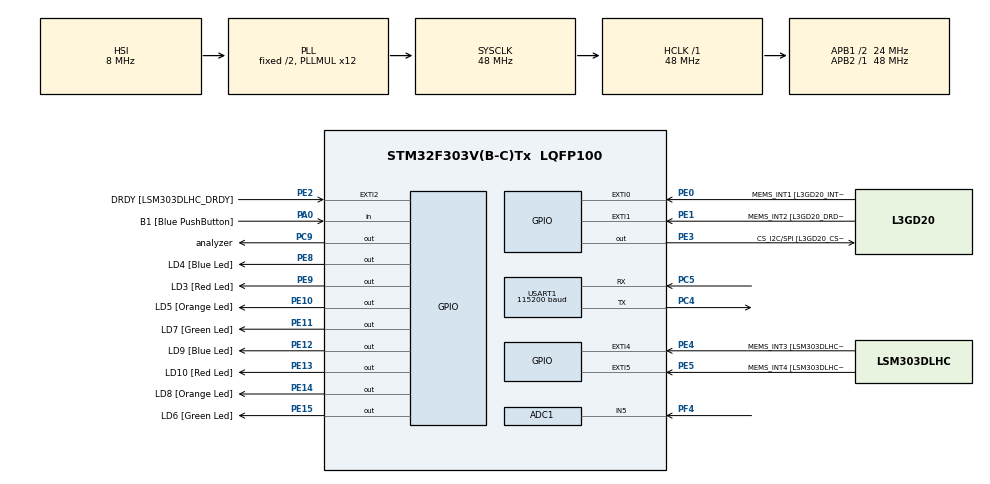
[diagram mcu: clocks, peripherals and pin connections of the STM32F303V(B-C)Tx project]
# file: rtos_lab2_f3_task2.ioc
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ADC1.Channel-0\#ChannelRegularConversion=ADC_CHANNEL_TEMPSENSOR
ADC1.Channel-1\#ChannelRegularConversion=ADC_CHANNEL_5
ADC1.ContinuousConvMode=DISABLE
ADC1.DiscontinuousConvMode=DISABLE
ADC1.ExternalTrigConv=ADC_SOFTWARE_START
ADC1.NbrOfConversion=2
ADC1.NbrOfConversionFlag=1
ADC1.Offset-0\#ChannelRegularConversion=0
ADC1.Offset-1\#ChannelRegularConversion=0
ADC1.OffsetNumber-0\#ChannelRegularConversion=ADC_OFFSET_NONE
ADC1.OffsetNumber-1\#ChannelRegularConversion=ADC_OFFSET_NONE
ADC1.Rank-0\#ChannelRegularConversion=1
ADC1.Rank-1\#ChannelRegularConversion=2
ADC1.SamplingTime-0\#ChannelRegularConversion=ADC_SAMPLETIME_2CYCLES_5
ADC1.SamplingTime-1\#ChannelRegularConversion=ADC_SAMPLETIME_2CYCLES_5
ADC1.SamplingTimeOPAMP-1\#ChannelRegularConversion=ADC_SAMPLETIME_19CYCLES_5
ADC1.master=1
FREERTOS.Queues01=dataQueue,10,uint32_t,0,Dynamic,NULL,NULL;UART_queue,10,uint32_t,0,Dynamic,NULL,NULL
FREERTOS.Tasks01=defaultTask,24,128,StartDefaultTask,Default,NULL,Dynamic,NULL,NULL;dataTask,24,128,StartDataTask,Default,NULL,Dynamic,NULL,NULL;UART_task,24,128,StartUART_task,Default,NULL,Dynamic,NULL,NULL
Mcu.Family=STM32F3
Mcu.Name=STM32F303V(B-C)Tx
Mcu.Package=LQFP100
NVIC.PriorityGroup=NVIC_PRIORITYGROUP_4
NVIC.TIM1_UP_TIM16_IRQn=true\:15\:0\:false\:false\:true\:false\:false\:true\:true
NVIC.TIM2_IRQn=true\:5\:0\:false\:false\:true\:true\:true\:true\:true
NVIC.TimeBase=TIM1_UP_TIM16_IRQn
NVIC.TimeBaseIP=TIM1
PA0.GPIO_Label=B1 [Blue PushButton]
PA0.GPIO_Mode=GPIO_MODE_INPUT
PA0.GPIO_PuPd=GPIO_NOPULL
PA0.Signal=GPIO_Input
PA11.GPIO_Label=DM
PA11.Signal=USB_DM
PA12.GPIO_Label=DP
PA12.Signal=USB_DP
PA13.GPIO_Label=SWDIO
PA13.Signal=SYS_JTMS-SWDIO
PA14.GPIO_Label=SWCLK
PA14.Signal=SYS_JTCK-SWCLK
PA5.GPIO_Label=SPI1_SCK [L3GD20_SCL/SPC]
PA5.GPIO_Mode=GPIO_MODE_AF_PP
PA5.GPIO_PuPd=GPIO_NOPULL
PA5.GPIO_Speed=GPIO_SPEED_FREQ_LOW
PA5.Signal=SPI1_SCK
PA6.GPIO_Label=SPI1_MISO [L3GD20_SA0/SDO]
PA6.GPIO_Mode=GPIO_MODE_AF_PP
PA6.GPIO_PuPd=GPIO_NOPULL
PA6.GPIO_Speed=GPIO_SPEED_FREQ_LOW
PA6.Signal=SPI1_MISO
PA7.GPIO_Label=SPI1_MISO [L3GD20_SDA/SDI/SDO]
PA7.GPIO_Mode=GPIO_MODE_AF_PP
PA7.GPIO_PuPd=GPIO_NOPULL
PA7.GPIO_Speed=GPIO_SPEED_FREQ_LOW
PA7.Signal=SPI1_MOSI
PB3.GPIO_Label=SWO
PB3.Signal=SYS_JTDO-TRACESWO
PB6.GPIO_FM6=__NULL
PB6.GPIO_Label=I2C1_SCL [LSM303DLHC_SCL]
PB6.GPIO_Mode=GPIO_MODE_AF_OD
PB6.GPIO_PuPd=GPIO_NOPULL
PB6.GPIO_Speed=GPIO_SPEED_FREQ_LOW
PB6.Signal=I2C1_SCL
PB7.GPIO_FM7=__NULL
PB7.GPIO_Label=I2C1_SDA [LSM303DLHC_SDA]
PB7.GPIO_Mode=GPIO_MODE_AF_OD
PB7.GPIO_PuPd=GPIO_NOPULL
PB7.GPIO_Speed=GPIO_SPEED_FREQ_LOW
PB7.Signal=I2C1_SDA
PC14-OSC32_IN.GPIO_Label=OSC32_IN
PC14-OSC32_IN.Signal=RCC_OSC32_IN
PC15-OSC32_OUT.GPIO_Label=OSC32_OUT
PC15-OSC32_OUT.Signal=RCC_OSC32_OUT
PC4.Mode=Asynchronous
PC4.Signal=USART1_TX
PC5.Mode=Asynchronous
PC5.Signal=USART1_RX
PC9.GPIO_Label=analyzer
PC9.Signal=GPIO_Output
PE0.GPIO_Label=MEMS_INT1 [L3GD20_INT1]
PE0.GPIO_ModeDefaultEXTI=GPIO_MODE_EVT_RISING
PE0.GPIO_PuPd=GPIO_NOPULL
PE0.Signal=GPXTI0
PE1.GPIO_Label=MEMS_INT2 [L3GD20_DRDY/INT2]
PE1.GPIO_ModeDefaultEXTI=GPIO_MODE_EVT_RISING
PE1.GPIO_PuPd=GPIO_NOPULL
PE1.Signal=GPXTI1
PE10.GPIO_Label=LD5 [Orange Led]
PE10.GPIO_ModeDefaultOutputPP=GPIO_MODE_OUTPUT_PP
PE10.GPIO_PuPd=GPIO_NOPULL
PE10.GPIO_Speed=GPIO_SPEED_FREQ_LOW
PE10.Signal=GPIO_Output
PE11.GPIO_Label=LD7 [Green Led]
PE11.GPIO_ModeDefaultOutputPP=GPIO_MODE_OUTPUT_PP
PE11.GPIO_PuPd=GPIO_NOPULL
PE11.GPIO_Speed=GPIO_SPEED_FREQ_LOW
PE11.Signal=GPIO_Output
PE12.GPIO_Label=LD9 [Blue Led]
PE12.GPIO_ModeDefaultOutputPP=GPIO_MODE_OUTPUT_PP
PE12.GPIO_PuPd=GPIO_NOPULL
PE12.GPIO_Speed=GPIO_SPEED_FREQ_LOW
PE12.Signal=GPIO_Output
PE13.GPIO_Label=LD10 [Red Led]
PE13.GPIO_ModeDefaultOutputPP=GPIO_MODE_OUTPUT_PP
PE13.GPIO_PuPd=GPIO_NOPULL
PE13.GPIO_Speed=GPIO_SPEED_FREQ_LOW
PE13.Signal=GPIO_Output
PE14.GPIO_Label=LD8 [Orange Led]
PE14.GPIO_ModeDefaultOutputPP=GPIO_MODE_OUTPUT_PP
PE14.GPIO_PuPd=GPIO_NOPULL
PE14.GPIO_Speed=GPIO_SPEED_FREQ_LOW
PE14.Signal=GPIO_Output
PE15.GPIO_Label=LD6 [Green Led]
PE15.GPIO_ModeDefaultOutputPP=GPIO_MODE_OUTPUT_PP
PE15.GPIO_PuPd=GPIO_NOPULL
PE15.GPIO_Speed=GPIO_SPEED_FREQ_LOW
PE15.Signal=GPIO_Output
PE2.GPIO_Label=DRDY [LSM303DLHC_DRDY]
PE2.GPIO_ModeDefaultEXTI=GPIO_MODE_EVT_RISING
PE2.GPIO_PuPd=GPIO_NOPULL
PE2.Signal=GPXTI2
PE3.GPIO_Label=CS_I2C/SPI [L3GD20_CS_I2C/SPI]
PE3.GPIO_ModeDefaultOutputPP=GPIO_MODE_OUTPUT_PP
PE3.GPIO_PuPd=GPIO_NOPULL
PE3.GPIO_Speed=GPIO_SPEED_FREQ_LOW
PE3.Signal=GPIO_Output
PE4.GPIO_Label=MEMS_INT3 [LSM303DLHC_INT1]
PE4.GPIO_ModeDefaultEXTI=GPIO_MODE_EVT_RISING
PE4.GPIO_PuPd=GPIO_NOPULL
PE4.Signal=GPXTI4
PE5.GPIO_Label=MEMS_INT4 [LSM303DLHC_INT2]
PE5.GPIO_ModeDefaultEXTI=GPIO_MODE_EVT_RISING
PE5.GPIO_PuPd=GPIO_NOPULL
PE5.Signal=GPXTI5
PE8.GPIO_Label=LD4 [Blue Led]
PE8.GPIO_ModeDefaultOutputPP=GPIO_MODE_OUTPUT_PP
PE8.GPIO_PuPd=GPIO_NOPULL
PE8.GPIO_Speed=GPIO_SPEED_FREQ_LOW
PE8.Signal=GPIO_Output
PE9.GPIO_Label=LD3 [Red Led]
PE9.GPIO_ModeDefaultOutputPP=GPIO_MODE_OUTPUT_PP
PE9.GPIO_PuPd=GPIO_NOPULL
PE9.GPIO_Speed=GPIO_SPEED_FREQ_LOW
PE9.Signal=GPIO_Output
PF0-OSC_IN.GPIO_Label=OSC_IN
PF0-OSC_IN.Signal=RCC_OSC_IN
PF1-OSC_OUT.GPIO_Label=OSC_OUT
PF1-OSC_OUT.Signal=RCC_OSC_OUT
PF4.Mode=IN5-Single-Ended
PF4.Signal=ADC1_IN5
ProjectManager.HeapSize=0x200
ProjectManager.StackSize=0x400
ProjectManager.TargetToolchain=STM32CubeIDE
RCC.AHBFreq_Value=48000000
RCC.APB1CLKDivider=RCC_HCLK_DIV2
RCC.APB1Freq_Value=24000000
RCC.APB1TimFreq_Value=48000000
RCC.APB2Freq_Value=48000000
RCC.APB2TimFreq_Value=48000000
RCC.CortexFreq_Value=48000000
RCC.HCLKFreq_Value=48000000
RCC.HSE_VALUE=8000000
RCC.HSI_VALUE=8000000
RCC.LSE_VALUE=32768
RCC.PLLMUL=RCC_PLL_MUL12
RCC.SYSCLKFreq_VALUE=48000000
RCC.SYSCLKSourceVirtual=RCC_SYSCLKSOURCE_PLLCLK
RCC.USBFreq_Value=48000000
STMicroelectronics.X-CUBE-ALGOBUILD.1.3.0.LibraryCcDSPOoLibraryJjDSPOoLibrary=true
TIM2.Period=1000
TIM2.Prescaler=48000-1
TIM2.TIM_MasterOutputTrigger=TIM_TRGO_UPDATE
USART1.BaudRate=115200
USART1.VirtualMode-Asynchronous=VM_ASYNC
VP_ADC1_TempSens_Input.Mode=IN-TempSens
VP_FREERTOS_VS_CMSIS_V2.Mode=CMSIS_V2
VP_STMicroelectronics.X-CUBE-ALGOBUILD_VS_DSPOoLibraryJjLibrary_1.3.0_1.3.0.Mode=DSPOoLibraryJjLibrary
VP_SYS_VS_tim1.Mode=TIM1
VP_TIM2_VS_ClockSourceINT.Mode=Internal
board=STM32F3DISCOVERY

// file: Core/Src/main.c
/* USER CODE BEGIN Header */
/**
  ******************************************************************************
  * @file           : main.c
  * @brief          : Main program body
  ******************************************************************************
  * @attention
  *
  * Copyright (c) 2023 STMicroelectronics.
  * All rights reserved.
  *
  * This software is licensed under terms that can be found in the LICENSE file
  * in the root directory of this software component.
  * If no LICENSE file comes with this software, it is provided AS-IS.
  *
  ******************************************************************************
  */
/* USER CODE END Header */
#include "main.h"
#include "cmsis_os.h"
#include "adc.h"
#include "tim.h"
#include "usart.h"
#include "gpio.h"

/* USER CODE BEGIN Includes */
#include "freertos.h"
/* USER CODE END Includes */

/* USER CODE BEGIN PV */
extern dataStruct measuredData;
extern osMessageQueueId_t dataQueueHandle;
/* USER CODE END PV */

void SystemClock_Config(void);
void MX_FREERTOS_Init(void);

/* USER CODE BEGIN 0 */
#ifdef __GNUC__
#define PUTCHAR_PROTOTYPE int __io_putchar(int ch)
#else
#define PUTCHAR_PROTOTYPE int fputc(int ch, FILE *f)
#endif

PUTCHAR_PROTOTYPE
{
  HAL_UART_Transmit(&huart1, (uint8_t *)&ch, 1, 10);
  return ch;
}
/* USER CODE END 0 */

int main(void)
{

  /* MCU Configuration--------------------------------------------------------*/

  /* Reset of all peripherals, Initializes the Flash interface and the Systick. */
  HAL_Init();

  /* Configure the system clock */
  SystemClock_Config();

  /* Initialize all configured peripherals */
  MX_GPIO_Init();
  MX_ADC1_Init();
  MX_TIM2_Init();
  MX_USART1_UART_Init();
  /* USER CODE BEGIN 2 */
  HAL_TIM_Base_Start_IT(&htim2);
  /* USER CODE END 2 */

  /* Init scheduler */
  osKernelInitialize();  /* Call init function for freertos objects (in freertos.c) */
  MX_FREERTOS_Init();

  /* Start scheduler */
  osKernelStart();

  /* We should never get here as control is now taken by the scheduler */
  /* Infinite loop */
  while (1)
  {

  }
}

void SystemClock_Config(void)
{
  RCC_OscInitTypeDef RCC_OscInitStruct = {0};
  RCC_ClkInitTypeDef RCC_ClkInitStruct = {0};
  RCC_PeriphCLKInitTypeDef PeriphClkInit = {0};

  /** Initializes the RCC Oscillators according to the specified parameters
  * in the RCC_OscInitTypeDef structure.
  */
  RCC_OscInitStruct.OscillatorType = RCC_OSCILLATORTYPE_HSI;
  RCC_OscInitStruct.HSIState = RCC_HSI_ON;
  RCC_OscInitStruct.HSICalibrationValue = RCC_HSICALIBRATION_DEFAULT;
  RCC_OscInitStruct.PLL.PLLState = RCC_PLL_ON;
  RCC_OscInitStruct.PLL.PLLSource = RCC_PLLSOURCE_HSI;
  RCC_OscInitStruct.PLL.PLLMUL = RCC_PLL_MUL12;
  if (HAL_RCC_OscConfig(&RCC_OscInitStruct) != HAL_OK)
  {
    Error_Handler();
  }

  /** Initializes the CPU, AHB and APB buses clocks
  */
  RCC_ClkInitStruct.ClockType = RCC_CLOCKTYPE_HCLK|RCC_CLOCKTYPE_SYSCLK
                              |RCC_CLOCKTYPE_PCLK1|RCC_CLOCKTYPE_PCLK2;
  RCC_ClkInitStruct.SYSCLKSource = RCC_SYSCLKSOURCE_PLLCLK;
  RCC_ClkInitStruct.AHBCLKDivider = RCC_SYSCLK_DIV1;
  RCC_ClkInitStruct.APB1CLKDivider = RCC_HCLK_DIV2;
  RCC_ClkInitStruct.APB2CLKDivider = RCC_HCLK_DIV1;

  if (HAL_RCC_ClockConfig(&RCC_ClkInitStruct, FLASH_LATENCY_1) != HAL_OK)
  {
    Error_Handler();
  }
  PeriphClkInit.PeriphClockSelection = RCC_PERIPHCLK_USART1|RCC_PERIPHCLK_ADC12;
  PeriphClkInit.Usart1ClockSelection = RCC_USART1CLKSOURCE_PCLK2;
  PeriphClkInit.Adc12ClockSelection = RCC_ADC12PLLCLK_DIV1;
  if (HAL_RCCEx_PeriphCLKConfig(&PeriphClkInit) != HAL_OK)
  {
    Error_Handler();
  }
}

void HAL_TIM_PeriodElapsedCallback(TIM_HandleTypeDef *htim)
{
  if (htim->Instance == TIM1) {
    HAL_IncTick();
  }
  /* USER CODE BEGIN Callback 1 */
  if (htim->Instance == TIM2) {
	HAL_GPIO_WritePin(LD4_GPIO_Port, LD4_Pin, GPIO_PIN_SET);
    uint16_t tempRaw = 0;
	uint16_t freqRaw = 0;
	float avg_slope = 4.3;
	uint16_t V25 = 1430;

	HAL_ADC_Start(&hadc1);

	HAL_ADC_PollForConversion(&hadc1, 1);
	tempRaw = HAL_ADC_GetValue(&hadc1);
	measuredData.tempValue = (uint16_t)((V25 - tempRaw) / avg_slope) + 25;

	HAL_ADC_PollForConversion(&hadc1, 1);
	freqRaw = HAL_ADC_GetValue(&hadc1);
	measuredData.freqValue = freqRaw;

	HAL_ADC_Stop(&hadc1);

	osMessageQueuePut(dataQueueHandle, &measuredData, 0, 0);
  }
  /* USER CODE END Callback 1 */
}

void Error_Handler(void)
{
  __disable_irq();
  while (1)
  {
  }
}

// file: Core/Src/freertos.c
/* USER CODE BEGIN Header */
/**
  ******************************************************************************
  * File Name          : freertos.c
  * Description        : Code for freertos applications
  ******************************************************************************
  * @attention
  *
  * Copyright (c) 2023 STMicroelectronics.
  * All rights reserved.
  *
  * This software is licensed under terms that can be found in the LICENSE file
  * in the root directory of this software component.
  * If no LICENSE file comes with this software, it is provided AS-IS.
  *
  ******************************************************************************
  */
/* USER CODE END Header */

#include "FreeRTOS.h"
#include "task.h"
#include "main.h"
#include "cmsis_os.h"

/* USER CODE BEGIN Includes */
#include "adc.h"
/* USER CODE END Includes */

/* USER CODE BEGIN Variables */
dataStruct measuredData;
dataStruct rcvMessage;
uint16_t average;
/* USER CODE END Variables */
/* Definitions for defaultTask */
osThreadId_t defaultTaskHandle;
const osThreadAttr_t defaultTask_attributes = {
  .name = "defaultTask",
  .stack_size = 128 * 4,
  .priority = (osPriority_t) osPriorityNormal,
};
/* Definitions for dataTask */
osThreadId_t dataTaskHandle;
const osThreadAttr_t dataTask_attributes = {
  .name = "dataTask",
  .stack_size = 128 * 4,
  .priority = (osPriority_t) osPriorityNormal,
};
/* Definitions for UART_task */
osThreadId_t UART_taskHandle;
const osThreadAttr_t UART_task_attributes = {
  .name = "UART_task",
  .stack_size = 128 * 4,
  .priority = (osPriority_t) osPriorityNormal,
};
/* Definitions for dataQueue */
osMessageQueueId_t dataQueueHandle;
const osMessageQueueAttr_t dataQueue_attributes = {
  .name = "dataQueue"
};
/* Definitions for UART_queue */
osMessageQueueId_t UART_queueHandle;
const osMessageQueueAttr_t UART_queue_attributes = {
  .name = "UART_queue"
};

void StartDefaultTask(void *argument);
void StartDataTask(void *argument);
void StartUART_task(void *argument);

void MX_FREERTOS_Init(void); /* (MISRA C 2004 rule 8.1) */

void MX_FREERTOS_Init(void) {

  /* Create the queue(s) */
  /* creation of dataQueue */
  dataQueueHandle = osMessageQueueNew (10, sizeof(uint32_t), &dataQueue_attributes);

  /* creation of UART_queue */
  UART_queueHandle = osMessageQueueNew (10, sizeof(uint32_t), &UART_queue_attributes);

  /* Create the thread(s) */
  /* creation of defaultTask */
  defaultTaskHandle = osThreadNew(StartDefaultTask, NULL, &defaultTask_attributes);

  /* creation of dataTask */
  dataTaskHandle = osThreadNew(StartDataTask, NULL, &dataTask_attributes);

  /* creation of UART_task */
  UART_taskHandle = osThreadNew(StartUART_task, NULL, &UART_task_attributes);

}

void StartDefaultTask(void *argument)
{
  for(;;)
  {
    osDelay(1);
  }
}

void StartDataTask(void *argument)
{
  /* USER CODE BEGIN StartDataTask */
  uint32_t count = 0;
  uint32_t sum = 0;
  /* Infinite loop */
  for(;;)
  {
	if (osMessageQueueGetCount(dataQueueHandle) != 0)
	{
		HAL_GPIO_WritePin(analyzer_GPIO_Port, analyzer_Pin, GPIO_PIN_SET);
		osMessageQueueGet(dataQueueHandle, &rcvMessage, 0, 0);
		sum += rcvMessage.tempValue;
		count++;
		average = sum/count;
		osMessageQueuePut(UART_queueHandle, &average, 0, 0);
		HAL_GPIO_WritePin(analyzer_GPIO_Port, analyzer_Pin, GPIO_PIN_RESET);
	}
    osDelay(1);												//to make sure task won't be constantly calculating average
  }
  /* USER CODE END StartDataTask */
}

void StartUART_task(void *argument)
{
  /* USER CODE BEGIN StartUART_task */
  uint16_t dataToPrint;
  /* Infinite loop */
  for(;;)
  {
    if (osMessageQueueGetCount(UART_queueHandle) != 0)
	{
	  osMessageQueueGet(UART_queueHandle, &dataToPrint, 0, 0);
	  printf("average temp: %d\n\r", dataToPrint);
	}
    osDelay(1);
  }
  /* USER CODE END StartUART_task */
}
